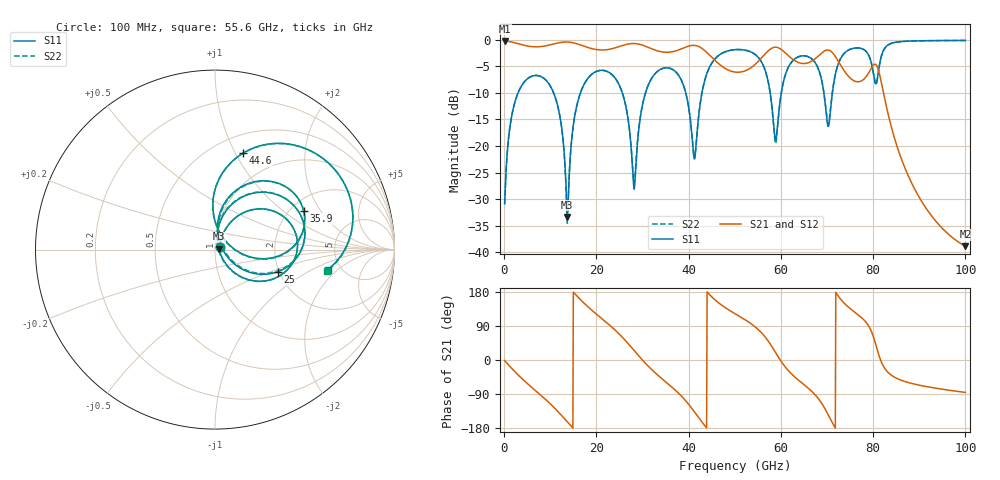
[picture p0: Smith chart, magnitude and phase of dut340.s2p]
! Touchstone file exported from HFSS 2026.1.0
!  File:  C:/ffzhzh/LocalFiles/Ansys_Project_Files/temp_train_TSV_RDL_340_1783706315_45164.aedt
!  Generated:  02:06:15 AM Jul 11, 2026
!  Design:  TSV_RDL
!  Project:  temp_train_TSV_RDL_340_1783706315_45164
! Variables:
!  h_bsmrdl = 4.48um
!  h_ox = 20um
!  h_rdl = 5um
!  h_sub = 88.95um
!  h_tmrdl = 2.75um
!  h_tsv = 88.95um
!  h_via = 3um
!  l_bsmrdl = 518.92um
!  l_sub = 3491.98um
!  l_tmrdl = 361.29um
!  m_sub = 200um
!  pitch = 46.06um
!  r_tsv = 14.61um
!  s_tmrdl = 10um
!  w_bsmrdl = 20.01um
!  w_sub = 500um
!  w_tmrdl = 10.01um
!  x_tsv_center1 = 366.295um
!  x_tsv_center2 = 905.225um
!  x_tsv_center3 = 1276.525um
!  x_tsv_center4 = 1815.455um
!  x_tsv_center5 = 2186.755um
!  x_tsv_center6 = 2725.685um
# GHz S MA R 50.000000
! Terminal data exported
! Port[1] = TM_RDL1_1_T1
! Port[2] = TM_RDL5_1_T1
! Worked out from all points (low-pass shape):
!   1000 points, 100 MHz to 100 GHz, reference 50 ohm
!   highest |S21| = -0.22 dB at 100 MHz (marker M1); lowest = -38.9 dB at 100 GHz (marker M2)
!   |S21| within 3 dB of the highest: start of sweep to 44.93 GHz; 56.01 GHz to 61.92 GHz (5.918 GHz wide, 10 % of centre) (the widest 2 of 3)
!   lowest |S11| = -33.4 dB at 13.7 GHz (marker M3), VSWR 1.04, Z = 52.1 + j0.47 ohm
!   |S11| at or under -10 dB: 10.72 GHz to 16.54 GHz (5.818 GHz wide, 42.7 % of centre); 25.62 GHz to 30.65 GHz (5.032 GHz wide, 17.9 % of centre); 39.37 GHz to 42.88 GHz (3.511 GHz wide, 8.54 % of centre) (the widest 3 of 6)
!   |S22| runs from -34.5 to -0.1 dB; largest |S21 - S12| = 1.7e-14
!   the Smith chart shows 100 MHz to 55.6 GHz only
!   S11 on the Smith chart (normalised r, x): 100 MHz: 1.05, +0.03; 25 GHz: 1.97, -0.56; 35.9 GHz: 2.34, +1.42; 44.6 GHz: 0.69, +1.07; 55.6 GHz: 3.94, -1.48
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0.1  0.02849 25.8  0.9746 -1.4  0.9746 -1.4  0.02849 25.8
! Gamma 0 0 0 0
! Port Impedance 50 0 50 0
2.3  0.2559 52.8  0.9364 -30.5  0.9364 -30.5  0.2559 52.8
7  0.4611 4.7  0.8576 -82.9  0.8576 -82.9  0.4612 4.6
11.4  0.2581 -41.1  0.9276 -132.6  0.9276 -132.6  0.2582 -41.5
13.7  0.02149 12.1  0.9517 -163.2  0.9517 -163.2  0.01875 10.9
16.8  0.3389 61.4  0.8853 156.2  0.8853 156.2  0.3384 62.0
25  0.3707 -19.5  0.8641 67.9  0.8641 67.9  0.3706 -18.7
28.2  0.03911 27.7  0.9212 24.9  0.9212 24.9  0.04453 28.0
33.4  0.51 46.5  0.7827 -40.9  0.7827 -40.9  0.5107 46.1
35.9  0.5388 23.6  0.7648 -66.6  0.7648 -66.6  0.5392 23.2
41.2  0.07726 32.9  0.8851 -136.0  0.8851 -136.0  0.07575 32.2
44.6  0.5599 73.8  0.7128 171.8  0.7128 171.8  0.5596 73.7
50.1  0.8072 30.3  0.4958 121.8  0.4958 121.8  0.807 30.1
55.6  0.6381 -10.0  0.6598 74.4  0.6598 74.4  0.6374 -10.6
58.9  0.1149 23.7  0.8511 18.5  0.8511 18.5  0.1057 24.1
61.6  0.5498 53.8  0.71 -27.8  0.71 -27.8  0.5485 54.7
66.7  0.6608 10.4  0.6293 -82.8  0.6293 -82.8  0.6609 11.1
71.2  0.3261 74.8  0.7536 -166.6  0.7536 -166.6  0.3315 73.4
74  0.7633 50.2  0.4907 146.7  0.4907 146.7  0.7647 49.7
79.6  0.6075 9.5  0.5392 76.0  0.5392 76.0  0.6065 8.9
83.4  0.903 39.0  0.1872 -34.6  0.1872 -34.6  0.9022 39.1
100  0.9846 1.8  0.01139 -85.6  0.01139 -85.6  0.9846 1.8
